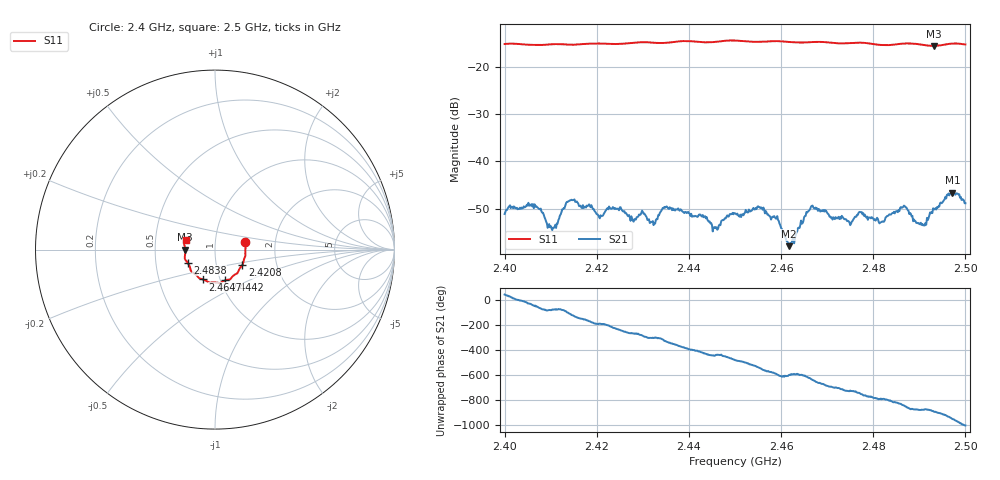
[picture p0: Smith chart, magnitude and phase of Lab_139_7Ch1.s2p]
# Hz S RI R 50
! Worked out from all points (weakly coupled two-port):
!   601 points, 2.4 GHz to 2.5 GHz, reference 50 ohm
!   highest |S21| = -46.58 dB at 2.4972 GHz (marker M1); lowest = -57.9 dB at 2.4617 GHz (marker M2)
!   lowest |S11| = -15.6 dB at 2.4932 GHz (marker M3), VSWR 1.40, Z = 35.8 - j0.0834 ohm
!   |S11| at or under -10 dB: start of sweep to end of sweep
!   S12 and S22 are empty: the file has one direction only
!   S11 on the Smith chart (normalised r, x): 2.4 GHz: 1.40, +0.12; 2.4208 GHz: 1.33, -0.24; 2.4442 GHz: 1.05, -0.37; 2.4647 GHz: 0.83, -0.29; 2.4838 GHz: 0.73, -0.11; 2.5 GHz: 0.72, +0.08
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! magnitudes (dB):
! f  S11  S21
! 2.4 GHz  -15.2  -51.1
! 2.4063 GHz  -15.4  -49.9
! 2.4107 GHz  -15.3  -54.0
! 2.4138 GHz  -15.4  -48.4
! 2.4167 GHz  -15.2  -49.8
! 2.4208 GHz  -15.1  -51.4
! 2.4333 GHz  -15.0  -51.3
! 2.4442 GHz  -14.9  -52.5
! 2.4457 GHz  -14.8  -53.8
! 2.45 GHz  -14.5  -50.9
! 2.4558 GHz  -14.8  -49.8
! 2.4617 GHz  -14.8  -57.9
! 2.4647 GHz  -14.9  -53.0
! 2.4667 GHz  -14.8  -49.4
! 2.4748 GHz  -15.0  -52.8
! 2.4833 GHz  -15.5  -51.4
! 2.4838 GHz  -15.4  -51.2
! 2.4868 GHz  -15.1  -49.4
! 2.491 GHz  -15.4  -53.5
! 2.4932 GHz  -15.6  -50.1
! 2.4972 GHz  -15.1  -46.6
! 2.5 GHz  -15.3  -48.8
